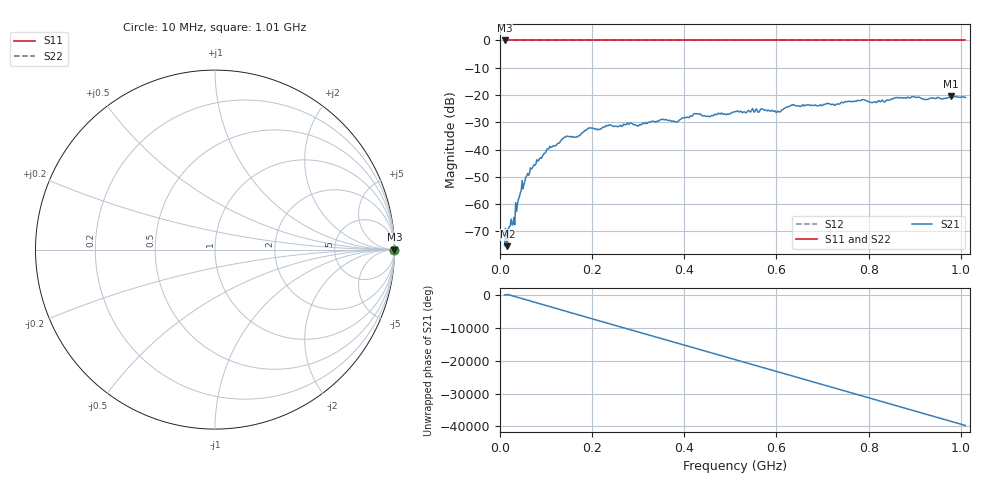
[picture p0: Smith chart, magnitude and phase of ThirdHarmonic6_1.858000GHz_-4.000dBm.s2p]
! 8/16/2025 10:28:11 PM
! C:\ANRITSUVNA\TEMP\TEMP.S2P
! CHANNEL.1
! TR.MEASUREMENT
! RAW.DATA
! RF.CORRECTION.OFF
! AVERAGING.OFF
! IF.BANDWIDTH: 5KHZ
! SWEEPTYPE:  FREQ.SWEEP(Linear)
! Reference Plane Port Info
! PORT:  PORT1  PORT2
! DISTANCE:  0  m  0  m
! TIME:  0  s  0  s
! PHASE.OFFSET:  0  deg.  0  deg.
! LOSS:  0  dB  0  dB
! REF.LOSS:  0  dB  0  dB
! REF.FREQ:  0  Hz  0  Hz
! Power Info
! POWER:  -20  dBm  -20  dBm
! EFF.POWER:  -20  dBm  -20  dBm
! SOURCE.ATTEN:  0  dB  0  dB
! TEST.ATTEN:  0  dB  0  dB
# GHZ S RI R 50.0
! FREQ.GHZ  S11RE  S11IM  S21RE  S21IM  S12RE  S12IM  S22RE  S22IM
!; PortSelection: Port_12
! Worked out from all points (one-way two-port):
!   501 points, 10 MHz to 1.01 GHz, reference 50 ohm
!   highest |S21| = -20.34 dB at 978 MHz (marker M1); lowest = -75.4 dB at 16 MHz (marker M2)
!   lowest |S11| = 0.0 dB at 10 MHz (marker M3)
!   |S11| at or under -10 dB: nowhere
!   |S22| runs from 0.0 to 0.0 dB; largest |S21 - S12| = 1.1
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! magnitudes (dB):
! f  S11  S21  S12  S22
! 10 MHz  0.0  -75.2  0.0  0.0
! 16 MHz  0.0  -75.4  0.0  0.0
! 32 MHz  0.0  -67.6  0.0  0.0
! 44 MHz  0.0  -55.9  0.0  0.0
! 70 MHz  0.0  -46.8  0.0  0.0
! 106 MHz  0.0  -39.8  0.0  0.0
! 142 MHz  0.0  -35.5  0.0  0.0
! 178 MHz  0.0  -34.0  0.0  0.0
! 196 MHz  0.0  -32.1  0.0  0.0
! 280 MHz  0.0  -30.8  0.0  0.0
! 298 MHz  0.0  -31.3  0.0  0.0
! 344 MHz  0.0  -29.6  0.0  0.0
! 382 MHz  0.0  -29.8  0.0  0.0
! 424 MHz  0.0  -26.9  0.0  0.0
! 452 MHz  0.0  -27.8  0.0  0.0
! 510 MHz  0.0  -26.1  0.0  0.0
! 604 MHz  0.0  -26.0  0.0  0.0
! 634 MHz  0.0  -23.8  0.0  0.0
! 678 MHz  0.0  -23.8  0.0  0.0
! 844 MHz  0.0  -22.0  0.0  0.0
! 978 MHz  0.0  -20.3  0.0  0.0
! 1.01 GHz  0.0  -20.9  0.0  0.0
